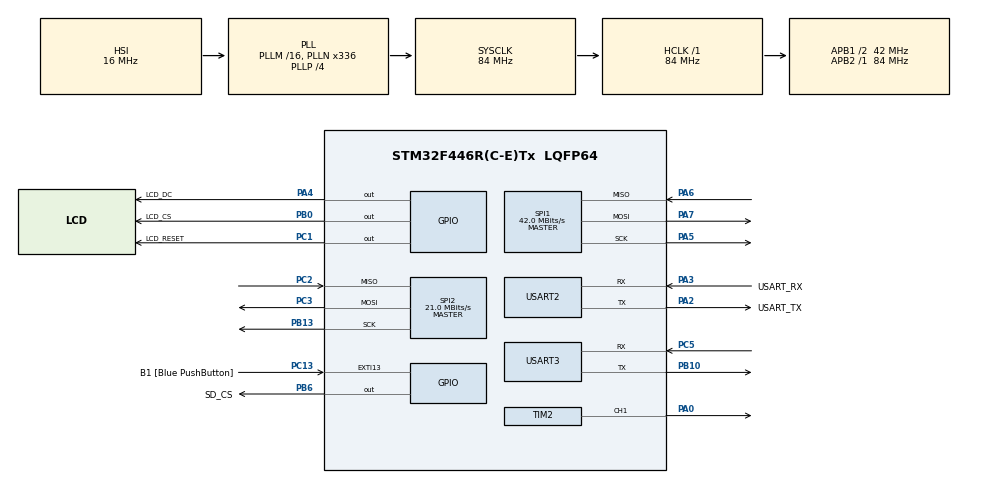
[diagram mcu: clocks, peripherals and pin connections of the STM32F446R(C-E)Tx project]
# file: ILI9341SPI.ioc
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Dma.Request0=SPI1_TX
Dma.SPI1_TX.0.Direction=DMA_MEMORY_TO_PERIPH
Dma.SPI1_TX.0.FIFOMode=DMA_FIFOMODE_DISABLE
Dma.SPI1_TX.0.Instance=DMA2_Stream3
Dma.SPI1_TX.0.MemDataAlignment=DMA_MDATAALIGN_BYTE
Dma.SPI1_TX.0.MemInc=DMA_MINC_ENABLE
Dma.SPI1_TX.0.Mode=DMA_NORMAL
Dma.SPI1_TX.0.PeriphDataAlignment=DMA_PDATAALIGN_BYTE
Dma.SPI1_TX.0.PeriphInc=DMA_PINC_DISABLE
Dma.SPI1_TX.0.Priority=DMA_PRIORITY_HIGH
FATFS._MAX_SS=4096
FATFS._USE_LFN=1
Mcu.Family=STM32F4
Mcu.Name=STM32F446R(C-E)Tx
Mcu.Package=LQFP64
NVIC.DMA2_Stream3_IRQn=true\:0\:0\:false\:false\:true\:false\:true\:true
NVIC.PriorityGroup=NVIC_PRIORITYGROUP_0
NVIC.USART3_IRQn=true\:0\:0\:false\:false\:true\:true\:true\:true
PA0-WKUP.Signal=S_TIM2_CH1_ETR
PA13.GPIO_Label=TMS
PA13.Mode=Serial_Wire
PA13.Signal=SYS_JTMS-SWDIO
PA14.GPIO_Label=TCK
PA14.Mode=Serial_Wire
PA14.Signal=SYS_JTCK-SWCLK
PA2.GPIO_Label=USART_TX
PA2.Mode=Asynchronous
PA2.Signal=USART2_TX
PA3.GPIO_Label=USART_RX
PA3.Mode=Asynchronous
PA3.Signal=USART2_RX
PA4.GPIO_Label=LCD_DC
PA4.GPIO_Speed=GPIO_SPEED_FREQ_MEDIUM
PA4.Signal=GPIO_Output
PA5.Mode=Full_Duplex_Master
PA5.Signal=SPI1_SCK
PA6.Mode=Full_Duplex_Master
PA6.Signal=SPI1_MISO
PA7.Mode=Full_Duplex_Master
PA7.Signal=SPI1_MOSI
PB0.GPIO_Label=LCD_CS
PB0.GPIO_Speed=GPIO_SPEED_FREQ_MEDIUM
PB0.Signal=GPIO_Output
PB10.Mode=Asynchronous
PB10.Signal=USART3_TX
PB13.Mode=Full_Duplex_Master
PB13.Signal=SPI2_SCK
PB3.GPIO_Label=SWO
PB3.Signal=SYS_JTDO-SWO
PB6.GPIO_Label=SD_CS
PB6.GPIO_Speed=GPIO_SPEED_FREQ_MEDIUM
PB6.PinState=GPIO_PIN_SET
PB6.Signal=GPIO_Output
PC1.GPIO_Label=LCD_RESET
PC1.GPIO_Speed=GPIO_SPEED_FREQ_MEDIUM
PC1.Signal=GPIO_Output
PC13.GPIO_Label=B1 [Blue PushButton]
PC13.GPIO_ModeDefaultEXTI=GPIO_MODE_IT_FALLING
PC13.Signal=GPXTI13
PC14-OSC32_IN.Mode=LSE-External-Oscillator
PC14-OSC32_IN.Signal=RCC_OSC32_IN
PC15-OSC32_OUT.Mode=LSE-External-Oscillator
PC15-OSC32_OUT.Signal=RCC_OSC32_OUT
PC2.Mode=Full_Duplex_Master
PC2.Signal=SPI2_MISO
PC3.Mode=Full_Duplex_Master
PC3.Signal=SPI2_MOSI
PC5.Mode=Asynchronous
PC5.Signal=USART3_RX
PH0-OSC_IN.Mode=HSE-External-Oscillator
PH0-OSC_IN.Signal=RCC_OSC_IN
PH1-OSC_OUT.Mode=HSE-External-Oscillator
PH1-OSC_OUT.Signal=RCC_OSC_OUT
ProjectManager.HeapSize=0x200
ProjectManager.StackSize=0x400
ProjectManager.TargetToolchain=STM32CubeIDE
RCC.48MHZClocksFreq_Value=84000000
RCC.AHBFreq_Value=84000000
RCC.APB1CLKDivider=RCC_HCLK_DIV2
RCC.APB1Freq_Value=42000000
RCC.APB1TimFreq_Value=84000000
RCC.APB2Freq_Value=84000000
RCC.APB2TimFreq_Value=84000000
RCC.CortexFreq_Value=84000000
RCC.FLatency-AdvancedSettings=FLASH_LATENCY_2
RCC.HCLKFreq_Value=84000000
RCC.HSE_VALUE=8000000
RCC.HSI_VALUE=16000000
RCC.PLLN=336
RCC.PLLP=RCC_PLLP_DIV4
RCC.SYSCLKFreq_VALUE=84000000
RCC.SYSCLKSource=RCC_SYSCLKSOURCE_PLLCLK
RCC.USBFreq_Value=168000000
RCC.VCOOutputFreq_Value=336000000
SH.S_TIM2_CH1_ETR.0=TIM2_CH1,PWM Generation1 CH1
SPI1.BaudRatePrescaler=SPI_BAUDRATEPRESCALER_2
SPI1.CalculateBaudRate=42.0 MBits/s
SPI1.Direction=SPI_DIRECTION_2LINES
SPI1.Mode=SPI_MODE_MASTER
SPI1.VirtualType=VM_MASTER
SPI2.CalculateBaudRate=21.0 MBits/s
SPI2.Direction=SPI_DIRECTION_2LINES
SPI2.Mode=SPI_MODE_MASTER
SPI2.VirtualType=VM_MASTER
TIM2.Channel-PWM\ Generation1\ CH1=TIM_CHANNEL_1
TIM2.Period=1000
TIM2.Prescaler=83
TIM2.Pulse-PWM\ Generation1\ CH1=500
USART2.VirtualMode=VM_ASYNC
USART3.VirtualMode=VM_ASYNC
VP_FATFS_VS_Generic.Mode=User_defined
VP_TIM2_VS_ClockSourceINT.Mode=Internal
board=NUCLEO-F446RE

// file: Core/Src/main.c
/* USER CODE BEGIN Header */
/**
 ******************************************************************************
 * @file           : main.c
 * @brief          : Main program body
 ******************************************************************************
 * @attention
 *
 * Copyright (c) 2024 STMicroelectronics.
 * All rights reserved.
 *
 * This software is licensed under terms that can be found in the LICENSE file
 * in the root directory of this software component.
 * If no LICENSE file comes with this software, it is provided AS-IS.
 *
 ******************************************************************************
 */
/* USER CODE END Header */
#include "main.h"
#include "fatfs.h"

/* USER CODE BEGIN Includes */
#include "fatfs_sd.h"
#include "string.h"
#include "stdio.h"

#include "ili9341.h"
#include "game.h"
/* USER CODE END Includes */

/* USER CODE BEGIN PD */
SPI_HandleTypeDef hspi1;
FATFS fs;
FATFS *Pfs;
FIL fit;
FRESULT fres;
DWORD fre_clust;
uint32_t totalSpace, freeSpace;
char buffer[100];
/* USER CODE END PD */

SPI_HandleTypeDef hspi1;
SPI_HandleTypeDef hspi2;
DMA_HandleTypeDef hdma_spi1_tx;

TIM_HandleTypeDef htim2;

UART_HandleTypeDef huart2;
UART_HandleTypeDef huart3;

void SystemClock_Config(void);
static void MX_GPIO_Init(void);
static void MX_DMA_Init(void);
static void MX_USART2_UART_Init(void);
static void MX_SPI1_Init(void);
static void MX_TIM2_Init(void);
static void MX_USART3_UART_Init(void);
static void MX_SPI2_Init(void);

int main(void)
{

  /* MCU Configuration--------------------------------------------------------*/

  /* Reset of all peripherals, Initializes the Flash interface and the Systick. */
  HAL_Init();

  /* Configure the system clock */
  SystemClock_Config();

  /* Initialize all configured peripherals */
  MX_GPIO_Init();
  MX_DMA_Init();
  MX_USART2_UART_Init();
  MX_SPI1_Init();
  MX_TIM2_Init();
  MX_USART3_UART_Init();
  MX_FATFS_Init();
  MX_SPI2_Init();
  /* USER CODE BEGIN 2 */
  LCD_Init();
  Game_Init();
  Game_SerialInit();
  /* USER CODE END 2 */

  /* Infinite loop */
  /* USER CODE BEGIN WHILE */
	/* Game_Render bombea una region DMA por llamada sin bloquear la fisica.
	 * El propio render limita los lotes nuevos a 32 ms. */
	uint32_t lastLogicTick = HAL_GetTick();
	while (1) {
		uint32_t now = HAL_GetTick();
		if ((uint32_t)(now-lastLogicTick) >= 16U) {
			lastLogicTick += 16U;
			Game_Update();
			/* No acumular fisica atrasada tras una transferencia larga. */
			if ((uint32_t)(now-lastLogicTick) >= 32U) lastLogicTick = now;
		}
		Game_Render();
		HAL_Delay(1);
    /* USER CODE END WHILE */

	}
}

void SystemClock_Config(void)
{
  RCC_OscInitTypeDef RCC_OscInitStruct = {0};
  RCC_ClkInitTypeDef RCC_ClkInitStruct = {0};

  /** Configure the main internal regulator output voltage
  */
  __HAL_RCC_PWR_CLK_ENABLE();
  __HAL_PWR_VOLTAGESCALING_CONFIG(PWR_REGULATOR_VOLTAGE_SCALE3);

  /** Initializes the RCC Oscillators according to the specified parameters
  * in the RCC_OscInitTypeDef structure.
  */
  RCC_OscInitStruct.OscillatorType = RCC_OSCILLATORTYPE_HSI;
  RCC_OscInitStruct.HSIState = RCC_HSI_ON;
  RCC_OscInitStruct.HSICalibrationValue = RCC_HSICALIBRATION_DEFAULT;
  RCC_OscInitStruct.PLL.PLLState = RCC_PLL_ON;
  RCC_OscInitStruct.PLL.PLLSource = RCC_PLLSOURCE_HSI;
  RCC_OscInitStruct.PLL.PLLM = 16;
  RCC_OscInitStruct.PLL.PLLN = 336;
  RCC_OscInitStruct.PLL.PLLP = RCC_PLLP_DIV4;
  RCC_OscInitStruct.PLL.PLLQ = 2;
  RCC_OscInitStruct.PLL.PLLR = 2;
  if (HAL_RCC_OscConfig(&RCC_OscInitStruct) != HAL_OK)
  {
    Error_Handler();
  }

  /** Initializes the CPU, AHB and APB buses clocks
  */
  RCC_ClkInitStruct.ClockType = RCC_CLOCKTYPE_HCLK|RCC_CLOCKTYPE_SYSCLK
                              |RCC_CLOCKTYPE_PCLK1|RCC_CLOCKTYPE_PCLK2;
  RCC_ClkInitStruct.SYSCLKSource = RCC_SYSCLKSOURCE_PLLCLK;
  RCC_ClkInitStruct.AHBCLKDivider = RCC_SYSCLK_DIV1;
  RCC_ClkInitStruct.APB1CLKDivider = RCC_HCLK_DIV2;
  RCC_ClkInitStruct.APB2CLKDivider = RCC_HCLK_DIV1;

  if (HAL_RCC_ClockConfig(&RCC_ClkInitStruct, FLASH_LATENCY_2) != HAL_OK)
  {
    Error_Handler();
  }
}

static void MX_SPI1_Init(void)
{

  /* SPI1 parameter configuration*/
  hspi1.Instance = SPI1;
  hspi1.Init.Mode = SPI_MODE_MASTER;
  hspi1.Init.Direction = SPI_DIRECTION_2LINES;
  hspi1.Init.DataSize = SPI_DATASIZE_8BIT;
  hspi1.Init.CLKPolarity = SPI_POLARITY_LOW;
  hspi1.Init.CLKPhase = SPI_PHASE_1EDGE;
  hspi1.Init.NSS = SPI_NSS_SOFT;
  hspi1.Init.BaudRatePrescaler = SPI_BAUDRATEPRESCALER_2;
  hspi1.Init.FirstBit = SPI_FIRSTBIT_MSB;
  hspi1.Init.TIMode = SPI_TIMODE_DISABLE;
  hspi1.Init.CRCCalculation = SPI_CRCCALCULATION_DISABLE;
  hspi1.Init.CRCPolynomial = 10;
  if (HAL_SPI_Init(&hspi1) != HAL_OK)
  {
    Error_Handler();
  }

}

static void MX_SPI2_Init(void)
{

  /* SPI2 parameter configuration*/
  hspi2.Instance = SPI2;
  hspi2.Init.Mode = SPI_MODE_MASTER;
  hspi2.Init.Direction = SPI_DIRECTION_2LINES;
  hspi2.Init.DataSize = SPI_DATASIZE_8BIT;
  hspi2.Init.CLKPolarity = SPI_POLARITY_LOW;
  hspi2.Init.CLKPhase = SPI_PHASE_1EDGE;
  hspi2.Init.NSS = SPI_NSS_SOFT;
  hspi2.Init.BaudRatePrescaler = SPI_BAUDRATEPRESCALER_2;
  hspi2.Init.FirstBit = SPI_FIRSTBIT_MSB;
  hspi2.Init.TIMode = SPI_TIMODE_DISABLE;
  hspi2.Init.CRCCalculation = SPI_CRCCALCULATION_DISABLE;
  hspi2.Init.CRCPolynomial = 10;
  if (HAL_SPI_Init(&hspi2) != HAL_OK)
  {
    Error_Handler();
  }

}

static void MX_TIM2_Init(void)
{

  TIM_ClockConfigTypeDef sClockSourceConfig = {0};
  TIM_MasterConfigTypeDef sMasterConfig = {0};
  TIM_OC_InitTypeDef sConfigOC = {0};

  htim2.Instance = TIM2;
  htim2.Init.Prescaler = 83;
  htim2.Init.CounterMode = TIM_COUNTERMODE_UP;
  htim2.Init.Period = 1000;
  htim2.Init.ClockDivision = TIM_CLOCKDIVISION_DIV1;
  htim2.Init.AutoReloadPreload = TIM_AUTORELOAD_PRELOAD_DISABLE;
  if (HAL_TIM_Base_Init(&htim2) != HAL_OK)
  {
    Error_Handler();
  }
  sClockSourceConfig.ClockSource = TIM_CLOCKSOURCE_INTERNAL;
  if (HAL_TIM_ConfigClockSource(&htim2, &sClockSourceConfig) != HAL_OK)
  {
    Error_Handler();
  }
  if (HAL_TIM_PWM_Init(&htim2) != HAL_OK)
  {
    Error_Handler();
  }
  sMasterConfig.MasterOutputTrigger = TIM_TRGO_RESET;
  sMasterConfig.MasterSlaveMode = TIM_MASTERSLAVEMODE_DISABLE;
  if (HAL_TIMEx_MasterConfigSynchronization(&htim2, &sMasterConfig) != HAL_OK)
  {
    Error_Handler();
  }
  sConfigOC.OCMode = TIM_OCMODE_PWM1;
  sConfigOC.Pulse = 500;
  sConfigOC.OCPolarity = TIM_OCPOLARITY_HIGH;
  sConfigOC.OCFastMode = TIM_OCFAST_DISABLE;
  if (HAL_TIM_PWM_ConfigChannel(&htim2, &sConfigOC, TIM_CHANNEL_1) != HAL_OK)
  {
    Error_Handler();
  }
  HAL_TIM_MspPostInit(&htim2);

}

static void MX_USART2_UART_Init(void)
{

  huart2.Instance = USART2;
  huart2.Init.BaudRate = 115200;
  huart2.Init.WordLength = UART_WORDLENGTH_8B;
  huart2.Init.StopBits = UART_STOPBITS_1;
  huart2.Init.Parity = UART_PARITY_NONE;
  huart2.Init.Mode = UART_MODE_TX_RX;
  huart2.Init.HwFlowCtl = UART_HWCONTROL_NONE;
  huart2.Init.OverSampling = UART_OVERSAMPLING_16;
  if (HAL_UART_Init(&huart2) != HAL_OK)
  {
    Error_Handler();
  }

}

static void MX_USART3_UART_Init(void)
{

  huart3.Instance = USART3;
  huart3.Init.BaudRate = 115200;
  huart3.Init.WordLength = UART_WORDLENGTH_8B;
  huart3.Init.StopBits = UART_STOPBITS_1;
  huart3.Init.Parity = UART_PARITY_NONE;
  huart3.Init.Mode = UART_MODE_TX_RX;
  huart3.Init.HwFlowCtl = UART_HWCONTROL_NONE;
  huart3.Init.OverSampling = UART_OVERSAMPLING_16;
  if (HAL_UART_Init(&huart3) != HAL_OK)
  {
    Error_Handler();
  }

}

static void MX_DMA_Init(void)
{

  /* DMA controller clock enable */
  __HAL_RCC_DMA2_CLK_ENABLE();

  /* DMA interrupt init */
  /* DMA2_Stream3_IRQn interrupt configuration */
  HAL_NVIC_SetPriority(DMA2_Stream3_IRQn, 0, 0);
  HAL_NVIC_EnableIRQ(DMA2_Stream3_IRQn);

}

static void MX_GPIO_Init(void)
{
  GPIO_InitTypeDef GPIO_InitStruct = {0};

  /* GPIO Ports Clock Enable */
  __HAL_RCC_GPIOC_CLK_ENABLE();
  __HAL_RCC_GPIOH_CLK_ENABLE();
  __HAL_RCC_GPIOA_CLK_ENABLE();
  __HAL_RCC_GPIOB_CLK_ENABLE();

  /*Configure GPIO pin Output Level */
  HAL_GPIO_WritePin(LCD_RESET_GPIO_Port, LCD_RESET_Pin, GPIO_PIN_RESET);

  /*Configure GPIO pin Output Level */
  HAL_GPIO_WritePin(LCD_DC_GPIO_Port, LCD_DC_Pin, GPIO_PIN_RESET);

  /*Configure GPIO pin Output Level */
  HAL_GPIO_WritePin(LCD_CS_GPIO_Port, LCD_CS_Pin, GPIO_PIN_RESET);

  /*Configure GPIO pin Output Level */
  HAL_GPIO_WritePin(SD_CS_GPIO_Port, SD_CS_Pin, GPIO_PIN_SET);

  /*Configure GPIO pin : B1_Pin */
  GPIO_InitStruct.Pin = B1_Pin;
  GPIO_InitStruct.Mode = GPIO_MODE_IT_FALLING;
  GPIO_InitStruct.Pull = GPIO_NOPULL;
  HAL_GPIO_Init(B1_GPIO_Port, &GPIO_InitStruct);

  /*Configure GPIO pin : LCD_RESET_Pin */
  GPIO_InitStruct.Pin = LCD_RESET_Pin;
  GPIO_InitStruct.Mode = GPIO_MODE_OUTPUT_PP;
  GPIO_InitStruct.Pull = GPIO_NOPULL;
  GPIO_InitStruct.Speed = GPIO_SPEED_FREQ_MEDIUM;
  HAL_GPIO_Init(LCD_RESET_GPIO_Port, &GPIO_InitStruct);

  /*Configure GPIO pin : LCD_DC_Pin */
  GPIO_InitStruct.Pin = LCD_DC_Pin;
  GPIO_InitStruct.Mode = GPIO_MODE_OUTPUT_PP;
  GPIO_InitStruct.Pull = GPIO_NOPULL;
  GPIO_InitStruct.Speed = GPIO_SPEED_FREQ_MEDIUM;
  HAL_GPIO_Init(LCD_DC_GPIO_Port, &GPIO_InitStruct);

  /*Configure GPIO pins : LCD_CS_Pin SD_CS_Pin */
  GPIO_InitStruct.Pin = LCD_CS_Pin|SD_CS_Pin;
  GPIO_InitStruct.Mode = GPIO_MODE_OUTPUT_PP;
  GPIO_InitStruct.Pull = GPIO_NOPULL;
  GPIO_InitStruct.Speed = GPIO_SPEED_FREQ_MEDIUM;
  HAL_GPIO_Init(GPIOB, &GPIO_InitStruct);

}

/* USER CODE BEGIN 4 */

/* Los GPIO pueden conservar sus IRQ de CubeMX, pero el control del juego
 * pertenece exclusivamente a USART3. */
void HAL_GPIO_EXTI_Callback(uint16_t GPIO_Pin)
{
	(void)GPIO_Pin;
}
/* USER CODE END 4 */

void Error_Handler(void)
{
	__disable_irq();
	while (1) {
	}
}
